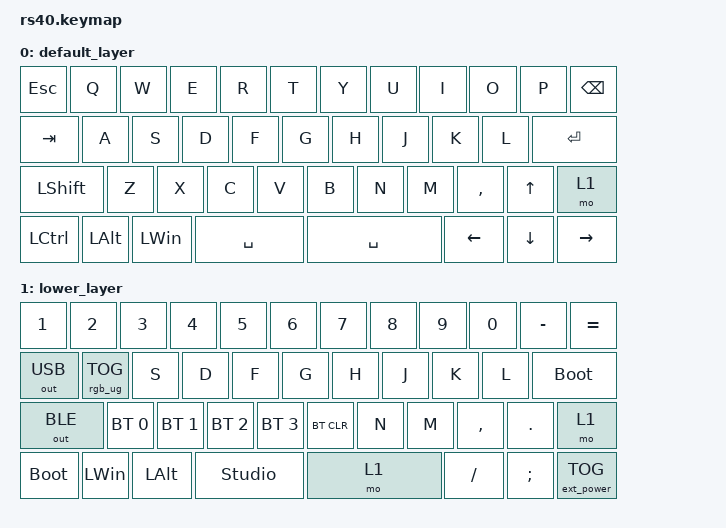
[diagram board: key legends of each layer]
#include <behaviors.dtsi>
#include <dt-bindings/zmk/keys.h>
#include <dt-bindings/zmk/bt.h>
#include <dt-bindings/zmk/outputs.h>
#include <dt-bindings/zmk/rgb.h>
#include <dt-bindings/zmk/ext_power.h>
#define DEFAULT 0
#define LWR 1
#define RSE 2
#define ADJ 3

#define HYPER(key) LS(LC(LA(LG(key))))
#define MEH(key)   LS(LC(LA(key)))

&sl {
release-after-ms = <5000>;
};


&kscan0 {
debounce-press-ms = <30>;
debounce-release-ms = <30>;
};

/ {
    keymap {
        compatible = "zmk,keymap";
        default_layer {
            bindings = <
                &kp ESC    &kp Q     &kp W     &kp E      &kp R  &kp T     &kp Y     &kp U     &kp I      &kp O    &kp P     &kp BSPC
                &kp TAB    &kp A     &kp S     &kp D      &kp F  &kp G     &kp H     &kp J     &kp K      &kp L    &kp RET
                &kp LSHFT  &kp Z     &kp X     &kp C      &kp V  &kp B     &kp N     &kp M     &kp COMMA  &kp UP  &mo 1
                &kp LCTRL  &kp LALT  &kp LWIN  &kp SPACE  &kp SPACE  &kp LEFT  &kp DOWN  &kp RIGHT
            >;
        };
        lower_layer {
            bindings = <
                &kp N1       &kp N2        &kp N3        &kp N4         &kp N5         &kp N6          &kp N7     &kp N8     &kp N9      &kp N0    &kp MINUS     &kp EQUAL
                &out OUT_USB  &rgb_ug  RGB_TOG        &kp S         &kp D         &kp F         &kp G          &kp H     &kp J     &kp K    &kp L    &bootloader
                &out OUT_BLE  &bt BT_SEL 0 &bt BT_SEL 1  &bt BT_SEL 2  &bt BT_SEL 3  &bt BT_CLR     &kp N     &kp M     &kp COMMA  &kp DOT  &mo 1
                &bootloader     &kp LWIN     &kp LALT      &studio_unlock              &mo 1          &kp FSLH  &kp SEMI  &ext_power EP_TOG
            >;
        };
    };
};
